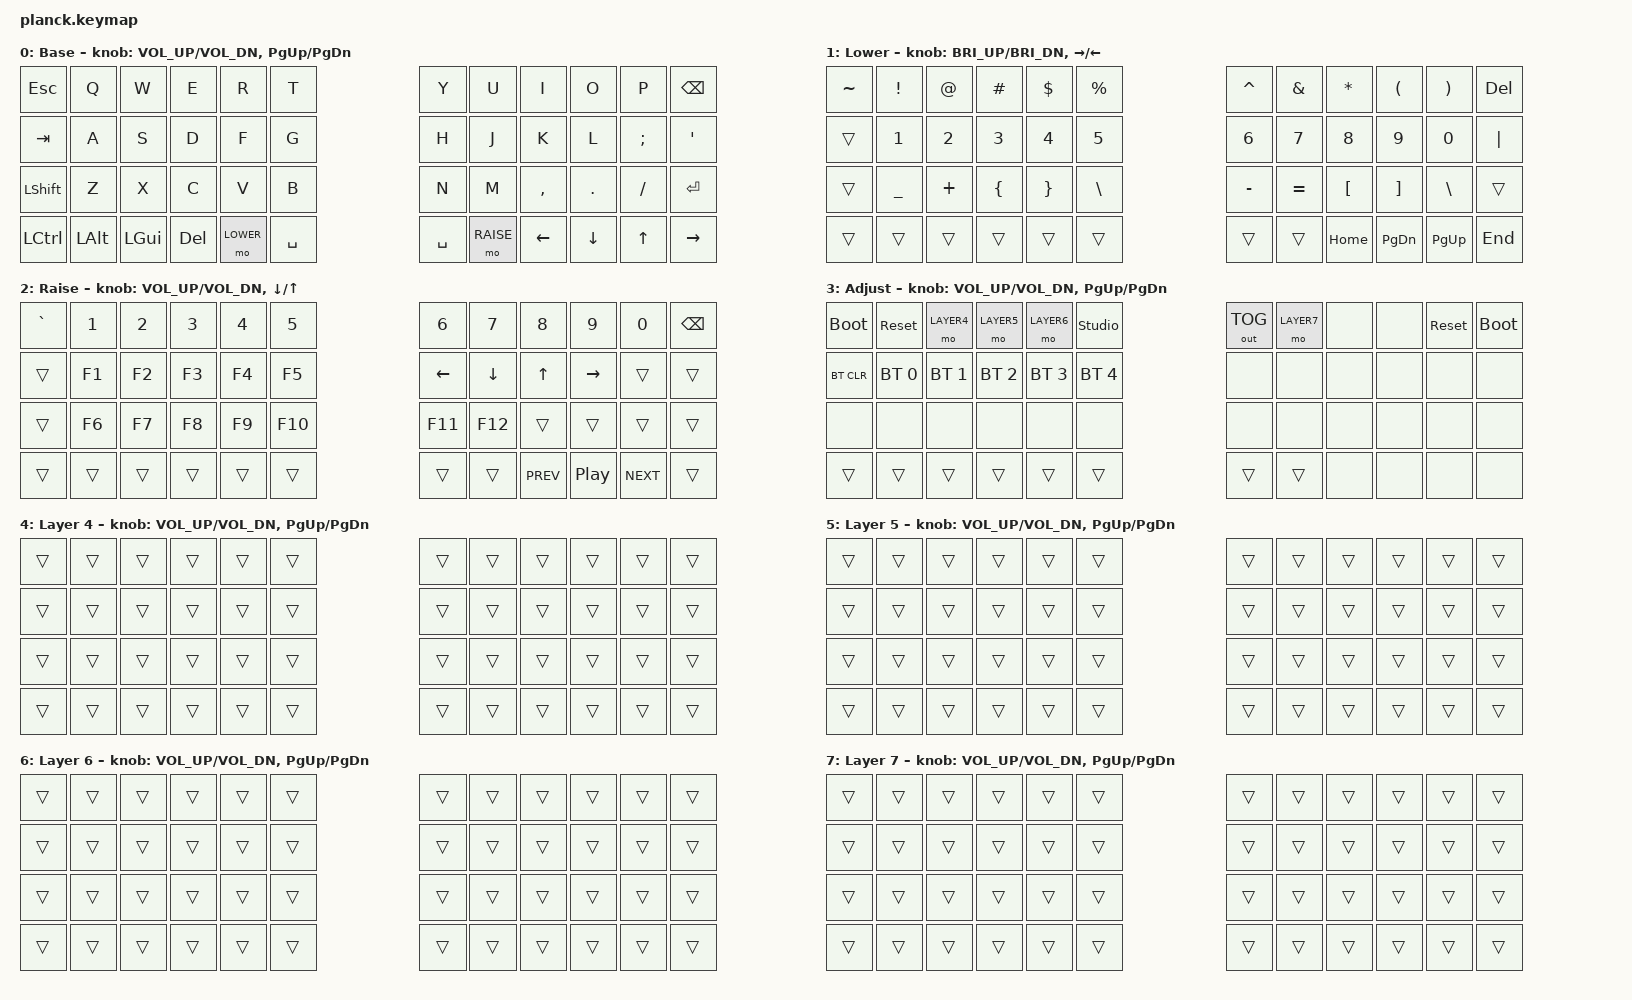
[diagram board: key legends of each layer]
#ifndef ZMK_BEHAVIORS_KEEP_ALL
#define ZMK_BEHAVIORS_KEEP_ALL
#endif
#include <behaviors.dtsi>
#include <dt-bindings/zmk/keys.h>
#include <dt-bindings/zmk/bt.h>
#include <dt-bindings/zmk/ext_power.h>
#include <dt-bindings/zmk/outputs.h>

#define BASE    0
#define LOWER   1
#define RAISE   2
#define ADJUST  3
#define LAYER4  4
#define LAYER5  5
#define LAYER6  6
#define LAYER7  7

/ {
    conditional_layers {
        compatible = "zmk,conditional-layers";
        tri_layer {
            if-layers = <LOWER RAISE>;
            then-layer = <ADJUST>;
        };
    };

    keymap {
        compatible = "zmk,keymap";

        default_layer {
            display-name = "Base";
            // --------------------------------------------------------------------------------------------------------------------------
            // |  ESC  |   Q   |   W   |   E   |   R   |   T   |                        |   Y   |   U   |   I   |   O   |   P   | BSPC  |
            // |  TAB  |   A   |   S   |   D   |   F   |   G   |                        |   H   |   J   |   K   |   L   |   ;   |   '   |
            // | LSHFT |   Z   |   X   |   C   |   V   |   B   |                        |   N   |   M   |   ,   |   .   |   /   |  RET  |
            // | LCTRL | LALT  | LGUI  |  DEL  | LOWER | SPACE |                        | SPACE | RAISE | LEFT  | DOWN  |  UP   | RIGHT |
            bindings = <
                &kp ESC    &kp Q     &kp W     &kp E     &kp R      &kp T        &kp Y      &kp U      &kp I      &kp O     &kp P     &kp BSPC
                &kp TAB    &kp A     &kp S     &kp D     &kp F      &kp G        &kp H      &kp J      &kp K      &kp L     &kp SEMI  &kp SQT
                &kp LSHFT  &kp Z     &kp X     &kp C     &kp V      &kp B        &kp N      &kp M      &kp COMMA  &kp DOT   &kp FSLH  &kp RET
                &kp LCTRL  &kp LALT  &kp LGUI  &kp DEL   &mo LOWER  &kp SPACE    &kp SPACE  &mo RAISE  &kp LEFT   &kp DOWN  &kp UP    &kp RIGHT
            >;
            sensor-bindings = <&inc_dec_kp C_VOL_UP C_VOL_DN &inc_dec_kp PG_UP PG_DN>;
        };

        lower_layer {
            display-name = "Lower";
            // --------------------------------------------------------------------------------------------------------------------------
            // |   ~   |   !   |   @   |   #   |   $   |   %   |                        |   ^   |   &   |   *   |   (   |   )   |  DEL  |
            // |       |   1   |   2   |   3   |   4   |   5   |                        |   6   |   7   |   8   |   9   |   0   |   |   |
            // |       |   _   |   +   |   {   |   }   |   \   |                        |   -   |   =   |   [   |   ]   |   \   |       |
            // |       |       |       |       |       |       |                        |       |       | HOME  | PG_DN | PG_UP |  END  |
            bindings = <
                &kp TILDE  &kp EXCL  &kp AT    &kp HASH  &kp DLLR   &kp PRCNT    &kp CARET  &kp AMPS   &kp STAR   &kp LPAR  &kp RPAR  &kp DEL
                &trans     &kp N1    &kp N2    &kp N3    &kp N4     &kp N5       &kp N6     &kp N7     &kp N8     &kp N9    &kp N0    &kp PIPE
                &trans     &kp UNDER &kp PLUS  &kp LBRC  &kp RBRC   &kp BSLH     &kp MINUS  &kp EQUAL  &kp LBKT   &kp RBKT  &kp BSLH  &trans
                &trans     &trans    &trans    &trans    &trans     &trans       &trans     &trans     &kp HOME   &kp PG_DN &kp PG_UP &kp END
            >;
            sensor-bindings = <&inc_dec_kp C_BRI_UP C_BRI_DN &inc_dec_kp RIGHT LEFT>;
        };

        raise_layer {
            display-name = "Raise";
            // --------------------------------------------------------------------------------------------------------------------------
            // |   `   |   1   |   2   |   3   |   4   |   5   |                        |   6   |   7   |   8   |   9   |   0   | BSPC  |
            // |       |  F1   |  F2   |  F3   |  F4   |  F5   |                        | LEFT  | DOWN  |  UP   | RIGHT |       |       |
            // |       |  F6   |  F7   |  F8   |  F9   |  F10  |                        |  F11  |  F12  |       |       |       |       |
            // |       |       |       |       |       |       |                        |       |       | PREV  | PLAY  | NEXT  |       |
            bindings = <
                &kp GRAVE  &kp N1    &kp N2    &kp N3    &kp N4     &kp N5       &kp N6     &kp N7     &kp N8     &kp N9    &kp N0     &kp BSPC
                &trans     &kp F1    &kp F2    &kp F3    &kp F4     &kp F5       &kp LEFT   &kp DOWN   &kp UP     &kp RIGHT &trans     &trans
                &trans     &kp F6    &kp F7    &kp F8    &kp F9     &kp F10      &kp F11    &kp F12    &trans     &trans    &trans     &trans
                &trans     &trans    &trans    &trans    &trans     &trans       &trans     &trans     &kp C_PREV &kp C_PP  &kp C_NEXT &trans
            >;
            sensor-bindings = <&inc_dec_kp C_VOL_UP C_VOL_DN &inc_dec_kp DOWN UP>;
        };

        adjust_layer {
            display-name = "Adjust";
            // --------------------------------------------------------------------------------------------------------------------------
            // | BOOT  | RESET |  L4   |  L5   |  L6   |STUDIO |                        |OUT_TOG|  L7   |       |       | RESET | BOOT  |
            // |BT_CLR | BT_0  | BT_1  | BT_2  | BT_3  | BT_4  |                        |       |       |       |       |       |       |
            // |       |       |       |       |       |       |                        |       |       |       |       |       |       |
            // |       |       |       |       |       |       |                        |       |       |       |       |       |       |
            bindings = <
                &bootloader &sys_reset   &mo LAYER4   &mo LAYER5   &mo LAYER6   &studio_unlock  &out OUT_TOG &mo LAYER7 &none &none &sys_reset &bootloader
                &bt BT_CLR  &bt BT_SEL 0 &bt BT_SEL 1 &bt BT_SEL 2 &bt BT_SEL 3 &bt BT_SEL 4    &none        &none      &none &none &none      &none
                &none       &none        &none        &none        &none        &none           &none        &none      &none &none &none      &none
                &trans      &trans       &trans       &trans       &trans       &trans          &trans       &trans     &none &none &none      &none
            >;
            sensor-bindings = <&inc_dec_kp C_VOL_UP C_VOL_DN &inc_dec_kp PG_UP PG_DN>;
        };

        layer_4 {
            display-name = "Layer 4";
            bindings = <
                &trans &trans &trans &trans &trans &trans    &trans &trans &trans &trans &trans &trans
                &trans &trans &trans &trans &trans &trans    &trans &trans &trans &trans &trans &trans
                &trans &trans &trans &trans &trans &trans    &trans &trans &trans &trans &trans &trans
                &trans &trans &trans &trans &trans &trans    &trans &trans &trans &trans &trans &trans
            >;
            sensor-bindings = <&inc_dec_kp C_VOL_UP C_VOL_DN &inc_dec_kp PG_UP PG_DN>;
        };

        layer_5 {
            display-name = "Layer 5";
            bindings = <
                &trans &trans &trans &trans &trans &trans    &trans &trans &trans &trans &trans &trans
                &trans &trans &trans &trans &trans &trans    &trans &trans &trans &trans &trans &trans
                &trans &trans &trans &trans &trans &trans    &trans &trans &trans &trans &trans &trans
                &trans &trans &trans &trans &trans &trans    &trans &trans &trans &trans &trans &trans
            >;
            sensor-bindings = <&inc_dec_kp C_VOL_UP C_VOL_DN &inc_dec_kp PG_UP PG_DN>;
        };

        layer_6 {
            display-name = "Layer 6";
            bindings = <
                &trans &trans &trans &trans &trans &trans    &trans &trans &trans &trans &trans &trans
                &trans &trans &trans &trans &trans &trans    &trans &trans &trans &trans &trans &trans
                &trans &trans &trans &trans &trans &trans    &trans &trans &trans &trans &trans &trans
                &trans &trans &trans &trans &trans &trans    &trans &trans &trans &trans &trans &trans
            >;
            sensor-bindings = <&inc_dec_kp C_VOL_UP C_VOL_DN &inc_dec_kp PG_UP PG_DN>;
        };

        layer_7 {
            display-name = "Layer 7";
            bindings = <
                &trans &trans &trans &trans &trans &trans    &trans &trans &trans &trans &trans &trans
                &trans &trans &trans &trans &trans &trans    &trans &trans &trans &trans &trans &trans
                &trans &trans &trans &trans &trans &trans    &trans &trans &trans &trans &trans &trans
                &trans &trans &trans &trans &trans &trans    &trans &trans &trans &trans &trans &trans
            >;
            sensor-bindings = <&inc_dec_kp C_VOL_UP C_VOL_DN &inc_dec_kp PG_UP PG_DN>;
        };
    };
};
